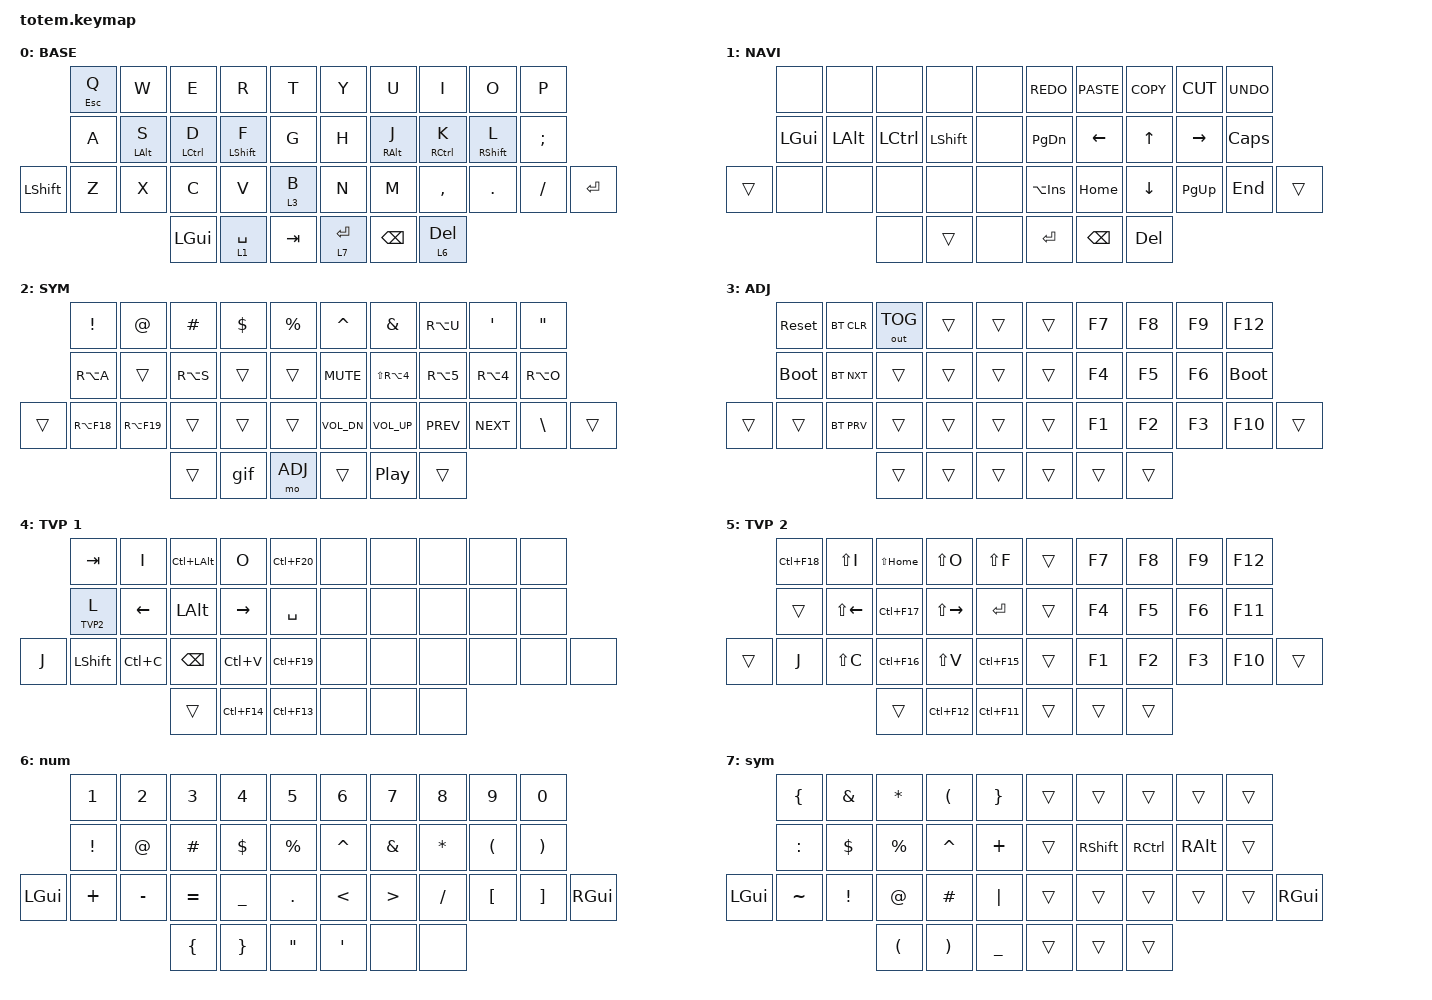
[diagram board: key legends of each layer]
//
//                                                        ▀▀▀▀▀     ▀▀▀▀▀          ▀▀█▀▀
//                                                        ▄▀▀▀▄  ▄  ▄▀▀▀▄  ▄  ▄▀▀▀▄  █  ▄▀▀▀▄
//                                                        █   █  █  █   █  █  █   █  █  █   █
//                                                         ▀▀▀   █   ▀▀▀   █   ▀▀▀   ▀   ▀▀▀
//                                                               █      ▄▄▄█▄▄▄    █   █  
//                                                               ▀      █  █  █     █▄█
//                                                             ▀▀▀▀▀    █  █  █      ▀
//                                                                      ▀  ▀  ▀
//
// ▄▄▄▄▄▄▄▄▄▄▄▄▄▄▄▄▄▄▄▄▄▄▄▄▄▄▄▄▄▄▄▄▄▄▄▄▄▄▄▄▄▄▄▄▄▄▄▄▄▄▄▄▄▄▄▄▄▄▄▄▄▄▄▄▄▄▄▄▄▄▄▄▄▄▄▄▄▄▄▄▄▄▄▄▄▄▄▄▄▄▄▄▄▄▄▄▄▄▄▄▄▄▄▄▄▄▄▄▄▄▄▄▄▄▄▄▄▄▄▄▄▄▄▄▄▄▄▄▄▄▄▄▄▄▄▄▄▄▄▄▄▄▄▄▄▄▄▄▄

#include <behaviors.dtsi>
#include <dt-bindings/zmk/bt.h>
#include <dt-bindings/zmk/keys.h>
#include <dt-bindings/zmk/outputs.h>

#define BASE 0
#define NAV  1
#define SYM  2
#define ADJ  3
#define TVP1 4
#define TVP2 5

&mt {
    quick-tap-ms = <800>;
    global-quick-tap;
    flavor = "tap-preferred";
    tapping-term-ms = <170>;
};

/ {
    combos {
        compatible = "zmk,combos";

        combo_esc {
            timeout-ms = <50>;
            key-positions = <0 1>;
            bindings = <&kp ESC>;
        };

        spotligh_left {
            bindings = <&kp LG(SPACE)>;
            key-positions = <1 2 3>;
        };

        spotlight_right {
            bindings = <&kp RG(SPACE)>;
            key-positions = <6 7 8>;
        };

        copy {
            bindings = <&kp LG(C)>;
            key-positions = <22 23>;
        };

        paste {
            bindings = <&kp LG(V)>;
            key-positions = <23 24>;
        };
    };

    macros {
        gif: gif {
            label = "giphy";
            compatible = "zmk,behavior-macro";
            #binding-cells = <0>;
            bindings =
                <&macro_press>,
                <&kp LSHFT>,
                <&macro_tap>,
                <&kp N2>,
                <&macro_release>,
                <&kp LSHFT>,
                <&macro_tap>,
                <&kp G &kp I &kp F>;
        };
    };

    keymap {
        compatible = "zmk,keymap";

        // ▄▄▄▄▄▄▄▄▄▄▄▄▄▄▄▄▄▄▄▄▄▄▄▄▄▄▄▄▄▄▄▄▄▄▄▄▄▄▄▄▄▄▄▄▄▄▄▄▄▄▄▄▄▄▄▄▄▄▄▄▄▄▄▄▄▄▄▄▄▄▄▄▄▄▄▄▄▄▄▄▄▄▄▄▄▄▄▄▄▄▄▄▄▄▄▄▄▄▄▄▄▄▄▄▄▄▄▄▄▄▄▄▄▄▄▄▄▄▄▄▄▄▄▄▄▄▄▄▄▄▄▄▄▄▄▄▄▄▄▄▄▄▄▄▄▄▄▄▄

        base_layer {
            // ┏━━━━━━━━━━━━━━━━━━━━━━━━━━━━━━━━━━━━━━━┓

            label = "BASE";

            // ┗━━━━━━━━━━━━━━━━━━━━━━━━━━━━━━━━━━━━━━━┛
            //             ┏━━━━━━━━━━━┳━━━━━━━━━━━┳━━━━━━━━━━━┳━━━━━━━━━━━┳━━━━━━━━━━━┓   ┏━━━━━━━━━━━┳━━━━━━━━━━━┳━━━━━━━━━━━┳━━━━━━━━━━━┳━━━━━━━━━━━┓
            //             ┃     Q     ┃     W     ┃     F     ┃     P     ┃     G     ┃   ┃     J     ┃     L     ┃     U     ┃     Y     ┃     ;     ┃
            //             ┣━━━━━━━━━━━╋━━━━━━━━━━━╋━━━━━━━━━━━╋━━━━━━━━━━━╋━━━━━━━━━━━┫   ┣━━━━━━━━━━━╋━━━━━━━━━━━╋━━━━━━━━━━━╋━━━━━━━━━━━╋━━━━━━━━━━━┫
            //             ┃     A     ┃     R     ┃     S     ┃     T     ┃     D     ┃   ┃     H     ┃     N     ┃     E     ┃     I     ┃     O     ┃
            // ┏━━━━━━━━━━━╋━━━━━━━━━━━╋━━━━━━━━━━━╋━━━━━━━━━━━╋━━━━━━━━━━━╋━━━━━━━━━━━┫   ┣━━━━━━━━━━━╋━━━━━━━━━━━╋━━━━━━━━━━━╋━━━━━━━━━━━╋━━━━━━━━━━━╋━━━━━━━━━━━┓
            // ┃     Q     ┃     Z     ┃     X     ┃     C     ┃     V     ┃     B     ┃   ┃     K     ┃     M     ┃     ,     ┃     .     ┃     /     ┃     \     ┃
            // ┗━━━━━━━━━━━┻━━━━━━━━━━━┻━━━━━━━━━━━╋━━━━━━━━━━━╋━━━━━━━━━━━╋━━━━━━━━━━━┫   ┣━━━━━━━━━━━╋━━━━━━━━━━━╋━━━━━━━━━━━╋━━━━━━━━━━━┻━━━━━━━━━━━┻━━━━━━━━━━━┛
            //                                     ┃    DEL    ┃    TAB    ┃    SPC    ┃   ┃   ENTER   ┃           ┃   BSPC    ┃
            //                                     ┗━━━━━━━━━━━┻━━━━━━━━━━━┻━━━━━━━━━━━┛   ┗━━━━━━━━━━━┻━━━━━━━━━━━┻━━━━━━━━━━━┛

            bindings = <
                &mt ESCAPE Q  &kp W           &kp E               &kp R             &kp T      &kp Y        &kp U            &kp I                &kp O              &kp P
                &kp A         &mt LEFT_ALT S  &mt LEFT_CONTROL D  &mt LEFT_SHIFT F  &kp G      &kp H        &mt RIGHT_ALT J  &mt RIGHT_CONTROL K  &mt RIGHT_SHIFT L  &kp SEMI
&kp LEFT_SHIFT  &kp Z         &kp X           &kp C               &kp V             &lt 3 B    &kp N        &kp M            &kp COMMA            &kp DOT            &kp FSLH  &kp ENTER
                                              &kp LEFT_GUI        &lt 1 SPACE       &kp TAB    &lt 7 ENTER  &kp BACKSPACE    &lt 6 DELETE
            >;
        };

        // ▄▄▄▄▄▄▄▄▄▄▄▄▄▄▄▄▄▄▄▄▄▄▄▄▄▄▄▄▄▄▄▄▄▄▄▄▄▄▄▄▄▄▄▄▄▄▄▄▄▄▄▄▄▄▄▄▄▄▄▄▄▄▄▄▄▄▄▄▄▄▄▄▄▄▄▄▄▄▄▄▄▄▄▄▄▄▄▄▄▄▄▄▄▄▄▄▄▄▄▄▄▄▄▄▄▄▄▄▄▄▄▄▄▄▄▄▄▄▄▄▄▄▄▄▄▄▄▄▄▄▄▄▄▄▄▄▄▄▄▄▄▄▄▄▄▄▄▄▄

        nav_layer {
            // ┏━━━━━━━━━━━━━━━━━━━━━━━━━━━━━━━━━━━━━━━┓

            label = "NAVI";

            // ┗━━━━━━━━━━━━━━━━━━━━━━━━━━━━━━━━━━━━━━━┛
            //             ┏━━━━━━━━━━━┳━━━━━━━━━━━┳━━━━━━━━━━━┳━━━━━━━━━━━┳━━━━━━━━━━━┓   ┏━━━━━━━━━━━┳━━━━━━━━━━━┳━━━━━━━━━━━┳━━━━━━━━━━━┳━━━━━━━━━━━┓
            //             ┃           ┃           ┃     UP    ┃           ┃     {     ┃   ┃     }     ┃     7     ┃     8     ┃     9     ┃     +     ┃
            //             ┣━━━━━━━━━━━╋━━━━━━━━━━━╋━━━━━━━━━━━╋━━━━━━━━━━━╋━━━━━━━━━━━┫   ┣━━━━━━━━━━━╋━━━━━━━━━━━╋━━━━━━━━━━━╋━━━━━━━━━━━╋━━━━━━━━━━━┫
            //             ┃   SHIFT   ┃   LEFT    ┃    DOWN   ┃   RIGHT   ┃     [     ┃   ┃     ]     ┃     4     ┃     5     ┃     6     ┃     -     ┃
            // ┏━━━━━━━━━━━╋━━━━━━━━━━━╋━━━━━━━━━━━╋━━━━━━━━━━━╋━━━━━━━━━━━╋━━━━━━━━━━━┫   ┣━━━━━━━━━━━╋━━━━━━━━━━━╋━━━━━━━━━━━╋━━━━━━━━━━━╋━━━━━━━━━━━╋━━━━━━━━━━━┓
            // ┃           ┃           ┃   P UP    ┃  C LOCK   ┃  P DOWN   ┃     (     ┃   ┃     )     ┃     1     ┃     2     ┃     3     ┃     *     ┃           ┃
            // ┗━━━━━━━━━━━┻━━━━━━━━━━━┻━━━━━━━━━━━╋━━━━━━━━━━━╋━━━━━━━━━━━╋━━━━━━━━━━━┫   ┣━━━━━━━━━━━╋━━━━━━━━━━━╋━━━━━━━━━━━╋━━━━━━━━━━━┻━━━━━━━━━━━┻━━━━━━━━━━━┛
            //                                     ┃           ┃    TAB    ┃    SPC    ┃   ┃    DEL    ┃     0     ┃           ┃
            //                                     ┗━━━━━━━━━━━┻━━━━━━━━━━━┻━━━━━━━━━━━┛   ┗━━━━━━━━━━━┻━━━━━━━━━━━┻━━━━━━━━━━━┛

            bindings = <
        &none     &none         &none             &none           &none    &kp K_REDO      &kp K_PASTE     &kp K_COPY      &kp K_CUT        &kp K_UNDO
        &kp LGUI  &kp LEFT_ALT  &kp LEFT_CONTROL  &kp LEFT_SHIFT  &none    &kp PAGE_DOWN   &kp LEFT_ARROW  &kp UP_ARROW    &kp RIGHT_ARROW  &kp CAPS
&trans  &none     &none         &none             &none           &none    &kp LA(INSERT)  &kp HOME        &kp DOWN_ARROW  &kp PG_UP        &kp END     &trans
                                &none             &trans          &none    &kp ENTER       &kp BACKSPACE   &kp DELETE
            >;
        };

        // ▄▄▄▄▄▄▄▄▄▄▄▄▄▄▄▄▄▄▄▄▄▄▄▄▄▄▄▄▄▄▄▄▄▄▄▄▄▄▄▄▄▄▄▄▄▄▄▄▄▄▄▄▄▄▄▄▄▄▄▄▄▄▄▄▄▄▄▄▄▄▄▄▄▄▄▄▄▄▄▄▄▄▄▄▄▄▄▄▄▄▄▄▄▄▄▄▄▄▄▄▄▄▄▄▄▄▄▄▄▄▄▄▄▄▄▄▄▄▄▄▄▄▄▄▄▄▄▄▄▄▄▄▄▄▄▄▄▄▄▄▄▄▄▄▄▄▄▄▄

        sim_layer {
            // ┏━━━━━━━━━━━━━━━━━━━━━━━━━━━━━━━━━━━━━━━┓

            label = "SYM";

            // ┗━━━━━━━━━━━━━━━━━━━━━━━━━━━━━━━━━━━━━━━┛
            //             ┏━━━━━━━━━━━┳━━━━━━━━━━━┳━━━━━━━━━━━┳━━━━━━━━━━━┳━━━━━━━━━━━┓   ┏━━━━━━━━━━━┳━━━━━━━━━━━┳━━━━━━━━━━━┳━━━━━━━━━━━┳━━━━━━━━━━━┓
            //             ┃     !     ┃     @     ┃     #     ┃     $     ┃     %     ┃   ┃     ˆ     ┃     &     ┃     Ü     ┃     '     ┃     "     ┃
            //             ┣━━━━━━━━━━━╋━━━━━━━━━━━╋━━━━━━━━━━━╋━━━━━━━━━━━╋━━━━━━━━━━━┫   ┣━━━━━━━━━━━╋━━━━━━━━━━━╋━━━━━━━━━━━╋━━━━━━━━━━━╋━━━━━━━━━━━┫
            //             ┃     Ä     ┃           ┃    SZ     ┃           ┃           ┃   ┃   MUTE    ┃   YEN     ┃   EURO    ┃  POUND    ┃     Ö     ┃
            // ┏━━━━━━━━━━━╋━━━━━━━━━━━╋━━━━━━━━━━━╋━━━━━━━━━━━╋━━━━━━━━━━━╋━━━━━━━━━━━┫   ┣━━━━━━━━━━━╋━━━━━━━━━━━╋━━━━━━━━━━━╋━━━━━━━━━━━╋━━━━━━━━━━━╋━━━━━━━━━━━┓
            // ┃           ┃  EMAIL1   ┃  EMAIL2   ┃           ┃           ┃           ┃   ┃   VOL-    ┃   VOL+    ┃   LAST    ┃   NEXT    ┃     \     ┃           ┃
            // ┗━━━━━━━━━━━┻━━━━━━━━━━━┻━━━━━━━━━━━╋━━━━━━━━━━━╋━━━━━━━━━━━╋━━━━━━━━━━━┫   ┣━━━━━━━━━━━╋━━━━━━━━━━━╋━━━━━━━━━━━╋━━━━━━━━━━━┻━━━━━━━━━━━┻━━━━━━━━━━━┛
            //                                     ┃           ┃    GIF    ┃    ADJ    ┃   ┃           ┃           ┃           ┃
            //                                     ┗━━━━━━━━━━━┻━━━━━━━━━━━┻━━━━━━━━━━━┛   ┗━━━━━━━━━━━┻━━━━━━━━━━━┻━━━━━━━━━━━┛

            bindings = <
        &kp EXCL     &kp AT       &kp HASH   &kp DLLR  &kp PRCNT    &kp CARET     &kp AMPS        &kp RA(U)   &kp SQT     &kp DQT
        &kp RA(A)    &trans       &kp RA(S)  &trans    &trans       &kp C_MUTE    &kp LS(RA(N4))  &kp RA(N5)  &kp RA(N4)  &kp RA(O)
&trans  &kp RA(F18)  &kp RA(F19)  &trans     &trans    &trans       &kp C_VOL_DN  &kp C_VOL_UP    &kp C_PREV  &kp C_NEXT  &kp BSLH   &trans
                                  &trans     &gif      &mo ADJ      &trans        &kp C_PP        &trans
            >;
        };

        // ▄▄▄▄▄▄▄▄▄▄▄▄▄▄▄▄▄▄▄▄▄▄▄▄▄▄▄▄▄▄▄▄▄▄▄▄▄▄▄▄▄▄▄▄▄▄▄▄▄▄▄▄▄▄▄▄▄▄▄▄▄▄▄▄▄▄▄▄▄▄▄▄▄▄▄▄▄▄▄▄▄▄▄▄▄▄▄▄▄▄▄▄▄▄▄▄▄▄▄▄▄▄▄▄▄▄▄▄▄▄▄▄▄▄▄▄▄▄▄▄▄▄▄▄▄▄▄▄▄▄▄▄▄▄▄▄▄▄▄▄▄▄▄▄▄▄▄▄▄

        adjust_layer {
            // ┏━━━━━━━━━━━━━━━━━━━━━━━━━━━━━━━━━━━━━━━┓

            label = "ADJ";

            // ┗━━━━━━━━━━━━━━━━━━━━━━━━━━━━━━━━━━━━━━━┛
            //             ┏━━━━━━━━━━━┳━━━━━━━━━━━┳━━━━━━━━━━━┳━━━━━━━━━━━┳━━━━━━━━━━━┓   ┏━━━━━━━━━━━┳━━━━━━━━━━━┳━━━━━━━━━━━┳━━━━━━━━━━━┳━━━━━━━━━━━┓
            //             ┃   RESET   ┃ BT CLEAR  ┃  OUT TOG  ┃           ┃           ┃   ┃           ┃    F7     ┃    F8     ┃    F9     ┃    F12    ┃
            //             ┣━━━━━━━━━━━╋━━━━━━━━━━━╋━━━━━━━━━━━╋━━━━━━━━━━━╋━━━━━━━━━━━┫   ┣━━━━━━━━━━━╋━━━━━━━━━━━╋━━━━━━━━━━━╋━━━━━━━━━━━╋━━━━━━━━━━━┫
            //             ┃ BOOTLOAD  ┃ BT NEXT   ┃           ┃           ┃           ┃   ┃           ┃    F4     ┃    F5     ┃    F6     ┃    F11    ┃
            // ┏━━━━━━━━━━━╋━━━━━━━━━━━╋━━━━━━━━━━━╋━━━━━━━━━━━╋━━━━━━━━━━━╋━━━━━━━━━━━┫   ┣━━━━━━━━━━━╋━━━━━━━━━━━╋━━━━━━━━━━━╋━━━━━━━━━━━╋━━━━━━━━━━━╋━━━━━━━━━━━┓
            // ┃           ┃           ┃ BT PREV   ┃           ┃           ┃           ┃   ┃           ┃    F1     ┃    F2     ┃    F3     ┃    F10    ┃           ┃
            // ┗━━━━━━━━━━━┻━━━━━━━━━━━┻━━━━━━━━━━━╋━━━━━━━━━━━╋━━━━━━━━━━━╋━━━━━━━━━━━┫   ┣━━━━━━━━━━━╋━━━━━━━━━━━╋━━━━━━━━━━━╋━━━━━━━━━━━┻━━━━━━━━━━━┻━━━━━━━━━━━┛
            //                                     ┃           ┃           ┃           ┃   ┃           ┃           ┃           ┃
            //                                     ┗━━━━━━━━━━━┻━━━━━━━━━━━┻━━━━━━━━━━━┛   ┗━━━━━━━━━━━┻━━━━━━━━━━━┻━━━━━━━━━━━┛

            bindings = <
        &sys_reset   &bt BT_CLR  &out OUT_TOG  &trans  &trans    &trans  &kp F7  &kp F8  &kp F9  &kp F12
        &bootloader  &bt BT_NXT  &trans        &trans  &trans    &trans  &kp F4  &kp F5  &kp F6  &bootloader
&trans  &trans       &bt BT_PRV  &trans        &trans  &trans    &trans  &kp F1  &kp F2  &kp F3  &kp F10      &trans
                                 &trans        &trans  &trans    &trans  &trans  &trans
            >;
        };

        // ▄▄▄▄▄▄▄▄▄▄▄▄▄▄▄▄▄▄▄▄▄▄▄▄▄▄▄▄▄▄▄▄▄▄▄▄▄▄▄▄▄▄▄▄▄▄▄▄▄▄▄▄▄▄▄▄▄▄▄▄▄▄▄▄▄▄▄▄▄▄▄▄▄▄▄▄▄▄▄▄▄▄▄▄▄▄▄▄▄▄▄▄▄▄▄▄▄▄▄▄▄▄▄▄▄▄▄▄▄▄▄▄▄▄▄▄▄▄▄▄▄▄▄▄▄▄▄▄▄▄▄▄▄▄▄▄▄▄▄▄▄▄▄▄▄▄▄▄▄

        tvp1_layer {
            // ┏━━━━━━━━━━━━━━━━━━━━━━━━━━━━━━━━━━━━━━━┓

            label = "TVP 1";

            // ┗━━━━━━━━━━━━━━━━━━━━━━━━━━━━━━━━━━━━━━━┛
            //             ┏━━━━━━━━━━━┳━━━━━━━━━━━┳━━━━━━━━━━━┳━━━━━━━━━━━┳━━━━━━━━━━━┓   ┏━━━━━━━━━━━┳━━━━━━━━━━━┳━━━━━━━━━━━┳━━━━━━━━━━━┳━━━━━━━━━━━┓
            //             ┃ NEXT FILE ┃ MARK IN   ┃ ROTATE    ┃ MARK OUT  ┃ SHOW SNAP ┃   ┃           ┃           ┃           ┃           ┃           ┃
            //             ┣━━━━━━━━━━━╋━━━━━━━━━━━╋━━━━━━━━━━━╋━━━━━━━━━━━╋━━━━━━━━━━━┫   ┣━━━━━━━━━━━╋━━━━━━━━━━━╋━━━━━━━━━━━╋━━━━━━━━━━━╋━━━━━━━━━━━┫
            //             ┃ TVP II    ┃ LEFT      ┃ PAN       ┃ RIGHT     ┃ PLAY/FLIP ┃   ┃           ┃           ┃           ┃           ┃           ┃
            // ┏━━━━━━━━━━━╋━━━━━━━━━━━╋━━━━━━━━━━━╋━━━━━━━━━━━╋━━━━━━━━━━━╋━━━━━━━━━━━┫   ┣━━━━━━━━━━━╋━━━━━━━━━━━╋━━━━━━━━━━━╋━━━━━━━━━━━╋━━━━━━━━━━━╋━━━━━━━━━━━┓
            // ┃ FULLSCR   ┃ SHIFT     ┃ COPY      ┃ DELETE    ┃ PASTE     ┃ IMG MARK  ┃   ┃           ┃           ┃           ┃           ┃           ┃           ┃
            // ┗━━━━━━━━━━━┻━━━━━━━━━━━┻━━━━━━━━━━━╋━━━━━━━━━━━╋━━━━━━━━━━━╋━━━━━━━━━━━┫   ┣━━━━━━━━━━━╋━━━━━━━━━━━╋━━━━━━━━━━━╋━━━━━━━━━━━┻━━━━━━━━━━━┻━━━━━━━━━━━┛
            //                                     ┃           ┃ UNDO/SAVE ┃  SEL/MOV  ┃   ┃           ┃           ┃           ┃
            //                                     ┗━━━━━━━━━━━┻━━━━━━━━━━━┻━━━━━━━━━━━┛   ┗━━━━━━━━━━━┻━━━━━━━━━━━┻━━━━━━━━━━━┛

            bindings = <
       &kp TAB     &kp I      &kp LC(LALT)  &kp O        &kp LC(F20)    &none  &none  &none  &none  &none
       &lt TVP2 L  &kp LEFT   &kp LALT      &kp RIGHT    &kp SPACE      &none  &none  &none  &none  &none
&kp J  &kp LSHFT   &kp LC(C)  &kp BSPC      &kp LC(V)    &kp LC(F19)    &none  &none  &none  &none  &none  &none
                              &trans        &kp LC(F14)  &kp LC(F13)    &none  &none  &none
            >;
        };

        // ▄▄▄▄▄▄▄▄▄▄▄▄▄▄▄▄▄▄▄▄▄▄▄▄▄▄▄▄▄▄▄▄▄▄▄▄▄▄▄▄▄▄▄▄▄▄▄▄▄▄▄▄▄▄▄▄▄▄▄▄▄▄▄▄▄▄▄▄▄▄▄▄▄▄▄▄▄▄▄▄▄▄▄▄▄▄▄▄▄▄▄▄▄▄▄▄▄▄▄▄▄▄▄▄▄▄▄▄▄▄▄▄▄▄▄▄▄▄▄▄▄▄▄▄▄▄▄▄▄▄▄▄▄▄▄▄▄▄▄▄▄▄▄▄▄▄▄▄▄

        tvp2_layer {
            // ┏━━━━━━━━━━━━━━━━━━━━━━━━━━━━━━━━━━━━━━━┓

            label = "TVP 2";

            // ┗━━━━━━━━━━━━━━━━━━━━━━━━━━━━━━━━━━━━━━━┛
            //             ┏━━━━━━━━━━━┳━━━━━━━━━━━┳━━━━━━━━━━━┳━━━━━━━━━━━┳━━━━━━━━━━━┓   ┏━━━━━━━━━━━┳━━━━━━━━━━━┳━━━━━━━━━━━┳━━━━━━━━━━━┳━━━━━━━━━━━┓
            //             ┃ SOLO      ┃ TOGGLE IN ┃ RESET ROT ┃ TOGGLE OUT┃ TAKE SNAP ┃   ┃           ┃           ┃           ┃           ┃           ┃
            //             ┣━━━━━━━━━━━╋━━━━━━━━━━━╋━━━━━━━━━━━╋━━━━━━━━━━━╋━━━━━━━━━━━┫   ┣━━━━━━━━━━━╋━━━━━━━━━━━╋━━━━━━━━━━━╋━━━━━━━━━━━╋━━━━━━━━━━━┫
            //             ┃ ---       ┃ LAST KEY  ┃ NEW KEY   ┃ NEXT KEY  ┃ ENTER     ┃   ┃           ┃           ┃           ┃           ┃           ┃
            // ┏━━━━━━━━━━━╋━━━━━━━━━━━╋━━━━━━━━━━━╋━━━━━━━━━━━╋━━━━━━━━━━━╋━━━━━━━━━━━┫   ┣━━━━━━━━━━━╋━━━━━━━━━━━╋━━━━━━━━━━━╋━━━━━━━━━━━╋━━━━━━━━━━━╋━━━━━━━━━━━┓
            // ┃           ┃ FULLSCR   ┃ CPY2BRUSH ┃ DEL HEAD  ┃ PSTinPLACE┃ BOOK MARK ┃   ┃           ┃           ┃           ┃           ┃           ┃           ┃
            // ┗━━━━━━━━━━━┻━━━━━━━━━━━┻━━━━━━━━━━━╋━━━━━━━━━━━╋━━━━━━━━━━━╋━━━━━━━━━━━┫   ┣━━━━━━━━━━━╋━━━━━━━━━━━╋━━━━━━━━━━━╋━━━━━━━━━━━┻━━━━━━━━━━━┻━━━━━━━━━━━┛
            //                                     ┃           ┃ REDO/SAV1 ┃TRANS/WARP ┃   ┃           ┃           ┃           ┃
            //                                     ┗━━━━━━━━━━━┻━━━━━━━━━━━┻━━━━━━━━━━━┛   ┗━━━━━━━━━━━┻━━━━━━━━━━━┻━━━━━━━━━━━┛

            bindings = <
        &kp LC(F18)  &kp LS(I)     &kp LS(HOME)  &kp LS(O)      &kp LS(F)      &trans  &kp F7  &kp F8  &kp F9  &kp F12
        &trans       &kp LS(LEFT)  &kp LC(F17)   &kp LS(RIGHT)  &kp RET        &trans  &kp F4  &kp F5  &kp F6  &kp F11
&trans  &kp J        &kp LS(C)     &kp LC(F16)   &kp LS(V)      &kp LC(F15)    &trans  &kp F1  &kp F2  &kp F3  &kp F10  &trans
                                   &trans        &kp LC(F12)    &kp LC(F11)    &trans  &trans  &trans
            >;
        };

        num {
            bindings = <
          &kp NUMBER_1     &kp NUMBER_2  &kp NUMBER_3    &kp NUMBER_4     &kp NUMBER_5         &kp NUMBER_6      &kp NUMBER_7      &kp NUMBER_8  &kp NUMBER_9          &kp NUMBER_0
          &kp EXCLAMATION  &kp AT_SIGN   &kp HASH        &kp DOLLAR       &kp PERCENT          &kp CARET         &kp AMPERSAND     &kp ASTERISK  &kp LEFT_PARENTHESIS  &kp RIGHT_PARENTHESIS
&kp LGUI  &kp PLUS         &kp MINUS     &kp EQUAL       &kp UNDERSCORE   &kp PERIOD           &kp LESS_THAN     &kp GREATER_THAN  &kp SLASH     &kp LEFT_BRACKET      &kp RIGHT_BRACKET      &kp RGUI
                                         &kp LEFT_BRACE  &kp RIGHT_BRACE  &kp DOUBLE_QUOTES    &kp SINGLE_QUOTE  &none             &none
            >;
        };

        sym {
            bindings = <
              &kp LEFT_BRACE  &kp AMPERSAND    &kp ASTERISK          &kp LEFT_PARENTHESIS   &kp RIGHT_BRACE    &trans  &trans           &trans             &trans         &trans
              &kp COLON       &kp DOLLAR       &kp PERCENT           &kp CARET              &kp PLUS           &trans  &kp RIGHT_SHIFT  &kp RIGHT_CONTROL  &kp RIGHT_ALT  &trans
&kp LEFT_GUI  &kp TILDE       &kp EXCLAMATION  &kp AT_SIGN           &kp HASH               &kp PIPE           &trans  &trans           &trans             &trans         &trans  &kp RIGHT_GUI
                                               &kp LEFT_PARENTHESIS  &kp RIGHT_PARENTHESIS  &kp UNDERSCORE     &trans  &trans           &trans
            >;
        };
    };
};
